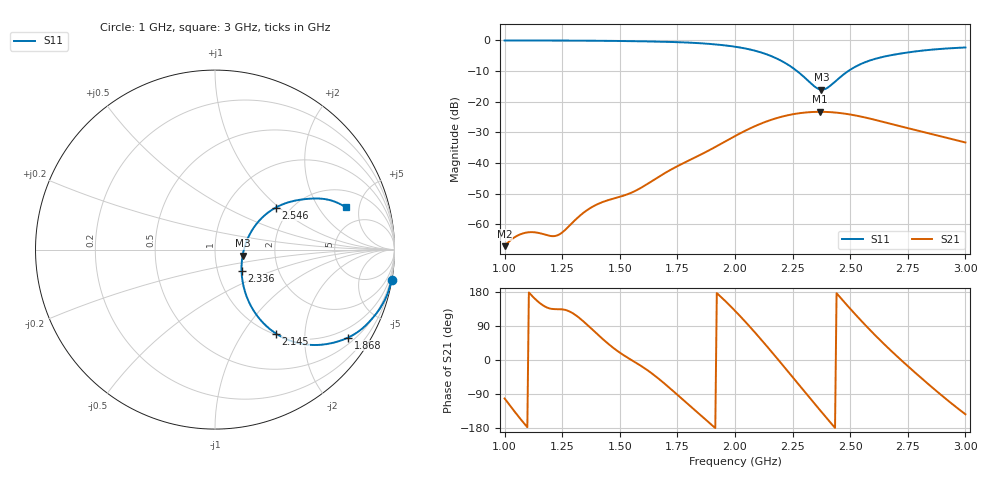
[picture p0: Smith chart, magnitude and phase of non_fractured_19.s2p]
! TOUCHSTONE file generated by CST MICROWAVE STUDIO
! Date and time: Sat Mar  8 13:54:00 2025
! Project name: non_fractured.cst
! Parameters = {B=2.5; D=160; F=10; Feed=2.85625; L=100; M=5; R=0.384908; S=1; Theta=180; length=57.125; wave=114.25}
! Header version: 2024
! Port assignment regex: !\s*Touchstone port\s*([0-9]+)\s*=\s*(CST MWS port|CST DES external port|CST DES block port)\s*(.+)\s* \(\"(.*)\"\)(\s*mode\s*([0-9]+))?.*
! Touchstone port assignment:
! Touchstone port 1 = CST MWS port 1 ("")
! Touchstone port 2 = CST MWS port 2 ("")
# GHz S DB R 50
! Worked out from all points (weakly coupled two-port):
!   305 points, 1 GHz to 3 GHz, reference 50 ohm
!   highest |S21| = -23.30 dB at 2.368 GHz (marker M1); lowest = -67.1 dB at 1 GHz (marker M2)
!   lowest |S11| = -16.1 dB at 2.375 GHz (marker M3), VSWR 1.37, Z = 68 - j4.6 ohm
!   |S11| at or under -10 dB: 2.269 GHz to 2.492 GHz (222.5 MHz wide, 9.35 % of centre)
!   S12 and S22 are empty: the file has one direction only
!   S11 on the Smith chart (normalised r, x): 1 GHz: 0, -12; 1.868 GHz: 0.68, -3.19; 2.145 GHz: 1.02, -1.43; 2.336 GHz: 1.30, -0.32; 2.546 GHz: 1.69, +0.95; 3 GHz: 3.21, +3.67
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1  -0.02 -9.7  -67.15 -101.5  -200.00 0.0  -200.00 0.0
1.04605  -0.02 -10.4  -64.10 -138.2  -200.00 0.0  -200.00 0.0
1.09211  -0.03 -11.0  -62.74 -172.6  -200.00 0.0  -200.00 0.0
1.23026  -0.05 -13.2  -63.58 134.2  -200.00 0.0  -200.00 0.0
1.33553  -0.08 -15.2  -56.65 105.3  -200.00 0.0  -200.00 0.0
1.40789  -0.12 -16.8  -53.29 65.2  -200.00 0.0  -200.00 0.0
1.56579  -0.26 -20.8  -49.16 -5.6  -200.00 0.0  -200.00 0.0
1.67105  -0.41 -24.2  -44.41 -50.6  -200.00 0.0  -200.00 0.0
1.86842  -1.02 -33.5  -36.62 -154.7  -200.00 0.0  -200.00 0.0
2  -2.06 -42.3  -31.22 129.9  -200.00 0.0  -200.00 0.0
2.07895  -3.21 -48.7  -28.24 78.0  -200.00 0.0  -200.00 0.0
2.14474  -4.75 -54.0  -26.24 31.7  -200.00 0.0  -200.00 0.0
2.24342  -8.59 -57.5  -24.20 -40.2  -200.00 0.0  -200.00 0.0
2.33553  -14.43 -38.9  -23.37 -108.0  -200.00 0.0  -200.00 0.0
2.36842  -15.98 -17.3  -23.30 -132.0  -200.00 0.0  -200.00 0.0
2.375  -16.07 -12.1  -23.31 -136.8  -200.00 0.0  -200.00 0.0
2.40132  -15.46 7.6  -23.36 -155.7  -200.00 0.0  -200.00 0.0
2.48684  -10.24 33.8  -24.02 144.2  -200.00 0.0  -200.00 0.0
2.54605  -7.71 34.7  -24.85 104.7  -200.00 0.0  -200.00 0.0
2.67105  -4.92 29.6  -27.14 28.0  -200.00 0.0  -200.00 0.0
2.82895  -3.20 23.6  -30.09 -58.3  -200.00 0.0  -200.00 0.0
3  -2.31 17.9  -33.30 -143.1  -200.00 0.0  -200.00 0.0
